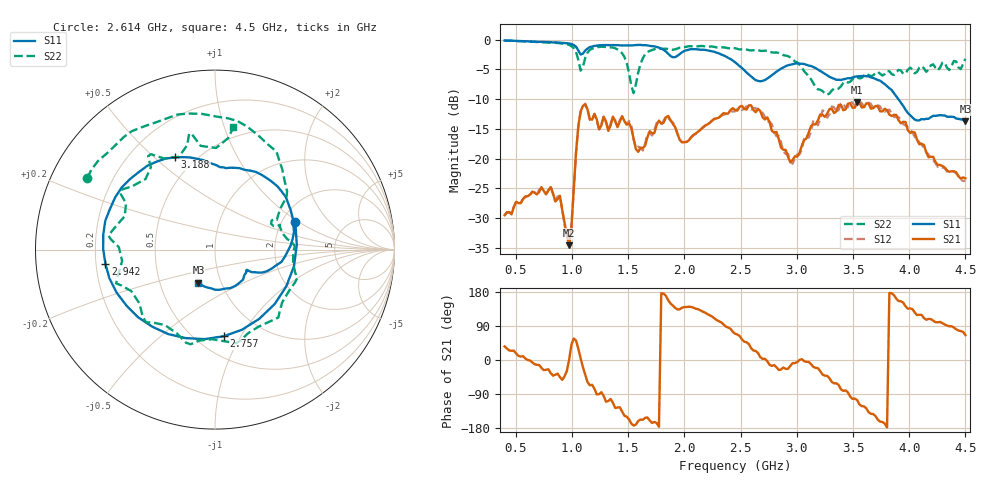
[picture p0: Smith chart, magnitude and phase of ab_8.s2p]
! Anritsu VNA Master:  Model: MS2036C/2
! SN:  2120025
! /bd0/ab_8.s2p
! Existing Calibration Information:
! TYPE:  Current Settings,  Active Cal Settings
! TIME:  03/02/2026 03:19:38 AM,  03/02/2026 02:47:23 AM
! INTERNAL TEMP:  55.0 C,  51.8 C
! # POINTS:  201,  201
! START FREQ:  400.000 MHz,  400.000 MHz
! STOP FREQ:  4.500 GHz,  4.500 GHz
! SOURCE POWER:  High,  High
! IFBW:  10 kHz,  10 kHz
! AVG FACTOR:  1 ,  1
! REF PLANE 1:  0 mm,  0 mm
! REF PLANE 2:  0 mm,  0 mm
! CAL TYPE:  Full 2 Port,  Full 2 Port
! CAL METHOD:  SOLT,  SOLT
! CAL LINE TYPE:  Coax,  Coax
! DUT PORT 1:  N-Conn(M),  N-Conn(M)
! DUT PORT 2:  N-Conn(M),  N-Conn(M)
! CAL STATUS:  OK: Accuracy High,  --
# GHZ S DB R 50.0
! FREQ.GHZ  S11DB  S11A  S21DB  S21A  S12DB  S12A  S22DB  S22A
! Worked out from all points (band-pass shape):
!   201 points, 400 MHz to 4.5 GHz, reference 50 ohm
!   highest |S21| = -10.54 dB at 3.537 GHz (marker M1); lowest = -34.6 dB at 974 MHz (marker M2)
!   |S21| within 3 dB of the highest: 2.252 GHz to 2.749 GHz (497.2 MHz wide, 19.9 % of centre); 3.188 GHz to 3.905 GHz (716.5 MHz wide, 20.2 % of centre)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
!   lowest |S11| = -13.7 dB at 4.5 GHz (marker M3), VSWR 1.52, Z = 39 - j15 ohm
!   |S11| at or under -10 dB: 3.904 GHz to end of sweep
!   |S22| runs from -9.3 to -0.1 dB; largest |S21 - S12| = 0.038
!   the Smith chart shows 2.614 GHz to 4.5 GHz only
!   S11 on the Smith chart (normalised r, x): 2.614 GHz: 2.37, +0.92; 2.757 GHz: 0.67, -0.85; 2.942 GHz: 0.24, -0.06; 3.188 GHz: 0.39, +0.58; 4.5 GHz: 0.78, -0.30
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0.4  -0.15 -89.1  -29.52 35.8  -29.63 34.3  -0.13 -89.5
0.728  -0.37 -165.7  -24.83 -21.0  -24.85 -19.2  -0.42 -166.8
0.892  -0.50 153.6  -26.26 -45.2  -26.39 -45.2  -0.62 152.1
0.974  -0.63 132.0  -34.60 0.7  -34.74 -0.4  -0.88 128.9
1.097  -2.35 108.6  -11.16 -19.1  -11.15 -16.7  -4.56 116.9
1.261  -0.93 69.0  -14.44 -85.0  -14.18 -84.1  -1.18 73.0
1.4865  -0.96 13.3  -14.30 -149.6  -14.20 -147.7  -3.94 2.0
1.548  -0.94 -1.0  -16.67 -173.0  -16.83 -174.5  -8.99 14.9
1.6095  -0.88 -16.5  -18.18 -157.1  -18.19 -162.1  -4.07 24.8
1.7735  -1.35 -59.1  -13.61 -176.3  -14.05 -179.9  -1.48 -24.8
2.04  -1.68 -113.5  -16.92 140.6  -16.97 140.4  -1.10 -84.6
2.204  -1.80 -160.1  -14.26 121.2  -14.23 121.3  -1.17 -122.1
2.45  -3.78 112.4  -11.82 69.3  -12.07 71.7  -1.43 -174.0
2.614  -6.51 18.7  -11.86 24.9  -11.55 30.5  -1.78 150.7
2.7575  -6.28 -84.3  -13.88 -12.8  -13.79 -7.4  -2.01 120.5
2.942  -4.21 -172.5  -20.64 -15.9  -20.28 -22.6  -2.99 75.5
3.147  -4.61 123.4  -14.24 -18.0  -13.55 -13.0  -7.32 32.2
3.188  -5.03 113.5  -13.56 -21.5  -14.41 -25.7  -8.36 25.6
3.5365  -6.18 58.5  -10.54 -105.7  -11.03 -106.4  -6.34 -22.4
3.8235  -8.18 -6.3  -12.62 177.0  -11.76 178.2  -5.30 -107.4
4.1105  -13.35 -34.1  -17.51 119.0  -17.65 113.6  -4.45 172.5
4.5  -13.70 -116.6  -23.32 65.8  -23.72 70.9  -3.22 81.4
